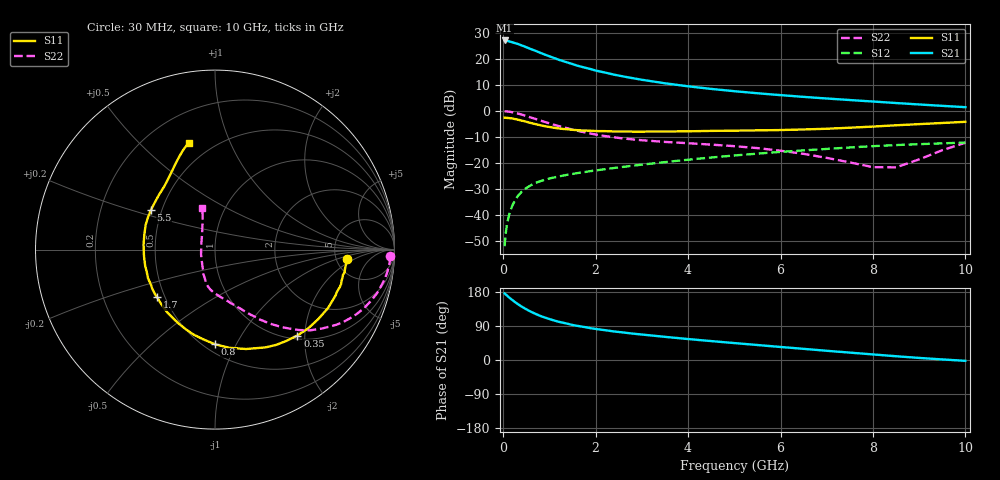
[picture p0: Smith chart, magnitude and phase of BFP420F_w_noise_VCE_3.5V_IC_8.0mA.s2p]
! Infineon Technologies  Discrete & RF Semiconductors
! BFP420F
! VCE =  3.5 V,  IC =  8.0 mA
! Common Emitter S-Parameters:  Sep 2011
# GHz  S  MA  R  50
!  f  S11  S21  S12  S22
! GHz  MAG  ANG  MAG  ANG  MAG  ANG  MAG  ANG
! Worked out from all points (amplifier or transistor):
!   54 points, 30 MHz to 10 GHz, reference 50 ohm
!   highest |S21| = 27.0 dB at 30 MHz (marker M1)
!   |S21| within 3 dB of that: start of sweep to 555.1 MHz
!   unconditionally stable (mu >= 1): 2.254 GHz to end of sweep
!   at 120 MHz: K = 0.17, MSG = 33.7 dB, |S12| = -40.6 dB
!   at 1.3 GHz: K = 0.68, MSG = 22.0 dB, |S12| = -24.9 dB
!   at 10 GHz: K = 1.31, MAG = 3.5 dB, |S12| = -12.2 dB
!   lowest NFmin = 1.08 dB at 450 MHz
!   S11 on the Smith chart (normalised r, x): 30 MHz: 6.24, -1.43; 350 MHz: 1.07, -1.83; 800 MHz: 0.57, -0.83; 1.7 GHz: 0.45, -0.29; 5.5 GHz: 0.44, +0.23; 10 GHz: 0.37, +0.71
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0.03  0.736 -4.1  22.42 175.6  0.0025 78.5  0.9766 -2.2
0.05  0.7344 -6.6  22.19 173.0  0.004 80.4  0.9756 -3.8
0.1  0.726 -13.9  21.96 167.8  0.0078 79.8  0.9671 -7.7
0.15  0.719 -20.7  21.25 162.6  0.0116 78.8  0.9529 -11.3
0.25  0.6935 -33.9  19.98 153.3  0.0186 74.0  0.9147 -18.2
0.35  0.6632 -46.2  18.72 144.8  0.0249 69.4  0.8686 -24.3
0.45  0.6313 -57.2  17.34 137.3  0.0304 65.5  0.8194 -29.6
0.5  0.6138 -62.5  16.62 133.8  0.0328 63.8  0.7926 -32.0
0.6  0.5808 -72.5  15.29 127.3  0.0371 60.7  0.7408 -36.4
0.8  0.5277 -89.9  13.02 116.4  0.0443 56.3  0.6502 -43.6
1  0.4881 -104.3  11.12 108.1  0.0499 53.7  0.5723 -49.1
1.2  0.4578 -116.8  9.561 100.9  0.0547 51.8  0.5088 -53.8
1.5  0.43 -132.2  7.876 92.4  0.0612 50.4  0.4342 -59.3
1.7  0.4176 -140.4  6.978 88.2  0.0652 50.0  0.3947 -62.9
1.9  0.4121 -148.0  6.287 83.7  0.0694 49.7  0.3632 -66.1
2.4  0.3999 -162.2  4.933 75.3  0.0796 49.1  0.3089 -73.9
3.5  0.3992 175.7  3.37 61.1  0.1032 47.9  0.2519 -87.5
4.5  0.41 160.5  2.628 49.9  0.1264 45.2  0.2235 -96.8
5.5  0.4197 148.5  2.169 39.5  0.15 41.2  0.1915 -105.1
7  0.451 128.9  1.719 24.3  0.1848 34.0  0.1244 -123.3
8.5  0.5257 114.8  1.407 9.9  0.2191 25.1  0.0818 159.6
10  0.6128 103.9  1.172 -2.2  0.2449 16.5  0.2425 106.7
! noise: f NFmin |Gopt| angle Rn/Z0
0.45  1.08  0.09  22  0.18
0.9  1.1  0.1  56  0.15
1.9  1.26  0.14  138  0.2
2.4  1.33  0.15  140  0.13
3.5  1.6  0.2  167  0.13
